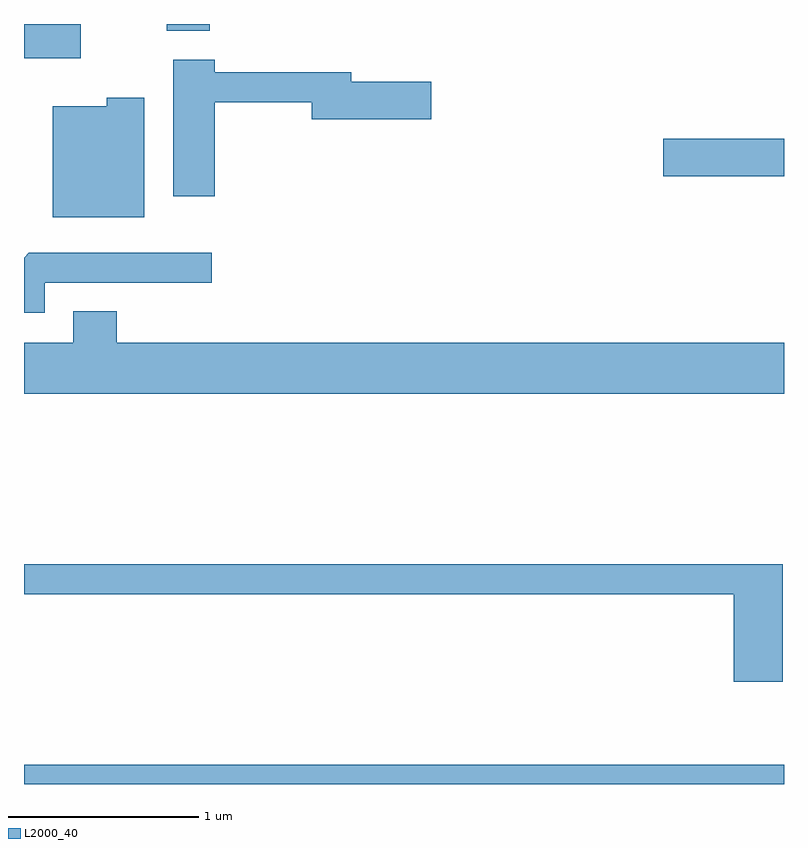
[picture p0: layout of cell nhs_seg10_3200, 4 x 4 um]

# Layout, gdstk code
import gdstk
lib = gdstk.Library(unit=1e-6, precision=1e-09)
def R(c, l, rs):  # rectangles x0, y0, x1, y1
    for r in rs: c.add(gdstk.rectangle(r[:2], r[2:], *l))
def P(c, l, *ps):  # polygons
    for p in ps: c.add(gdstk.Polygon(p, *l))
L2000_40 = (2000, 40)

nhs_seg10_3200 = lib.new_cell('nhs_seg10_3200')
R(nhs_seg10_3200, L2000_40, [(279.611,2118.522,283.611,2118.624), (282.976,2121.721,283.611,2121.919), (279.611,2122.341,279.909,2122.522), (280.361,2122.486,280.589,2122.522)])
P(nhs_seg10_3200, L2000_40, [(280.614,2122.111),(281.126,2122.111),(281.126,2122.021),(281.754,2122.021),(281.754,2122.219),(281.334,2122.219),(281.334,2122.269),(280.614,2122.269),(280.614,2122.334),(280.396,2122.334),(280.396,2121.616),(280.614,2121.616)],
  [(280.244,2122.134),(280.046,2122.134),(280.046,2122.089),(279.761,2122.089),(279.761,2121.506),(280.244,2121.506)],
  [(279.719,2121.161),(280.598,2121.161),(280.598,2121.319),(279.637,2121.319),(279.611,2121.293),(279.611,2121.001),(279.719,2121.001)],
  [(283.611,2120.844),(280.099,2120.844),(280.099,2121.009),(279.871,2121.009),(279.871,2120.844),(279.611,2120.844),(279.611,2120.576),(283.611,2120.576)],
  [(283.604,2119.679),(279.611,2119.679),(279.611,2119.521),(283.346,2119.521),(283.346,2119.061),(283.604,2119.061)])

lib.write_gds('nhs_seg10_3200.gds')
